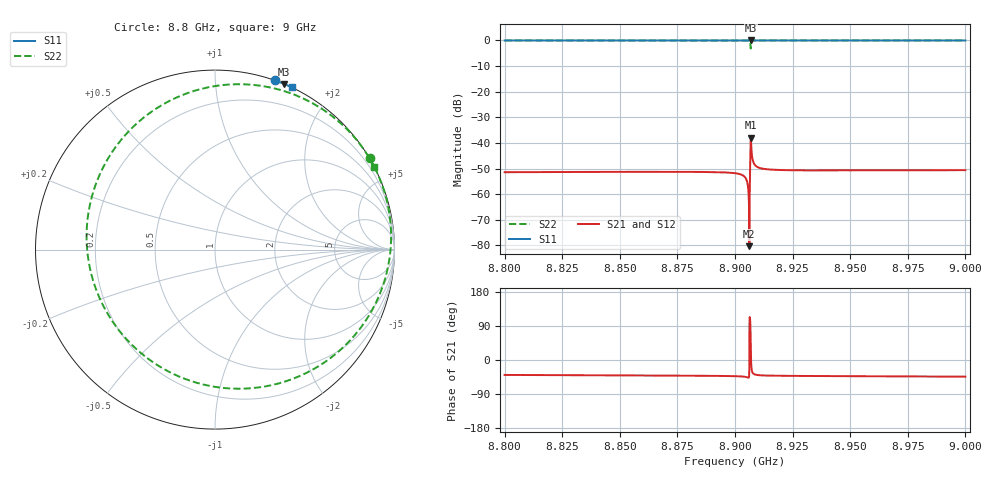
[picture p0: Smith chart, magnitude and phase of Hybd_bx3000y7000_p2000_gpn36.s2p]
! Sonnet Data File
! From: emgraph Version : 16.52
! From Project: Resonator2
! Data is De-embedded
! Data File Written: 10/06/2017 09:13:21
!< HDATE 10/05/2017 15:18:40
!< MDATE 10/05/2017 15:18:40
!< PARAMS
!< gap = 36.0
!< Length = 400.0
!< Pwid1 = 2000.0
!< Pwid2 = 2000.0
!< END PARAMS
# GHZ S MA R 50.0 !  non standard terminations in data
! TERM 51.80000 0.000000 35.97000 0.000000
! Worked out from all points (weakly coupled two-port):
!   1595 points, 8.8 GHz to 9 GHz, reference 50 ohm
!   highest |S21| = -37.99 dB at 8.9068 GHz (marker M1); lowest = -80.3 dB at 8.9062 GHz (marker M2)
!   lowest |S11| = 0.0 dB at 8.9068 GHz (marker M3)
!   |S11| at or under -10 dB: nowhere
!   |S22| runs from -3.1 to 0.0 dB; largest |S21 - S12| = 0
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8.8  1 70.6  0.002683 -39.4  0.002683 -39.4  1 30.6
!< P1 F=8.8 Eeff=(6.44679989 -2.9721e-5) Z0=(51.7992624 1.19519e-4) R=0.0 C=0.0
!< P2 F=8.8 Eeff=(5.36817953 -2.3731e-5) Z0=(35.9853883 8.0522e-5) R=0.0 C=0.0
8.8334  1 69.6  0.002713 -40.2  0.002713 -40.2  1 29.9
8.8668  1 68.6  0.002732 -41.1  0.002732 -41.1  1 29.2
8.9  1 67.6  0.002567 -42.6  0.002567 -42.6  0.9999 27.1
8.9052  1 67.5  0.001786 -45.4  0.001786 -45.4  0.9982 20.8
8.905938  1 67.5  0.0009241 -46.5  0.0009241 -46.5  0.9941 14.1
8.906225  1 67.5  9.664e-05 25.7  9.664e-05 25.7  0.9872 7.0
8.906463  1 67.4  0.001751 112.3  0.001751 112.3  0.9668 -6.9
8.906629  1 67.4  0.004895 99.5  0.004895 99.5  0.9079 -33.5
8.906694  1 67.4  0.007219 87.8  0.007219 87.8  0.8469 -56.5
8.906756  0.9999 67.4  0.01006 70.1  0.01006 70.1  0.756 -94.2
8.906799  0.9999 67.4  0.01183 53.5  0.01183 53.5  0.7027 -133.2
8.906842  0.9999 67.4  0.0126 35.7  0.0126 35.7  0.7088 -176.6
8.906847  0.9999 67.4  0.01261 33.4  0.01261 33.4  0.7148 177.8
8.906905  0.9999 67.4  0.01182 13.1  0.01182 13.1  0.8005 132.2
8.90697  0.9999 67.4  0.01022 -2.2  0.01022 -2.2  0.881 101.6
8.907086  1 67.4  0.008015 -16.7  0.008015 -16.7  0.9472 74.6
8.907244  1 67.4  0.006387 -25.5  0.006387 -25.5  0.9764 58.8
8.908412  1 67.4  0.003845 -37.6  0.003845 -37.6  0.9982 37.1
8.9334  1 66.6  0.002911 -42.2  0.002911 -42.2  1 28.9
8.9668  1 65.6  0.002915 -43.1  0.002915 -43.1  1 28.1
9  1 64.6  0.002944 -44.0  0.002944 -44.0  1 27.4
